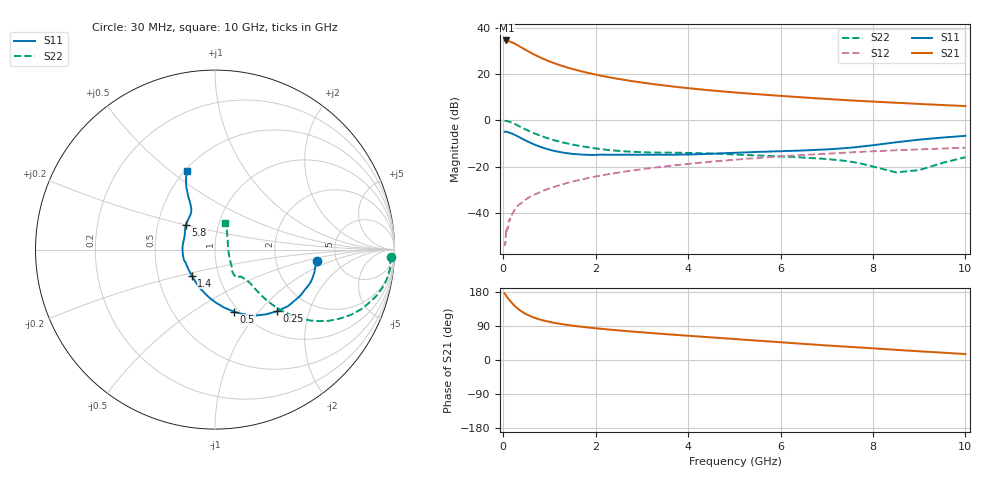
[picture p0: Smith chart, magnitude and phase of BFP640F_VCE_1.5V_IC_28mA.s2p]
! Infineon Technologies  Discrete & RF Semiconductors
! BFP640F
! VCE =  1.5 V,  IC =  28 mA
! Common Emitter S-Parameters:  Apr 2013
# GHz  S  MA  R  50
!  f  S11  S21  S12  S22
! GHz  MAG  ANG  MAG  ANG  MAG  ANG  MAG  ANG
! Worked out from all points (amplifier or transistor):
!   99 points, 30 MHz to 10 GHz, reference 50 ohm
!   highest |S21| = 34.7 dB at 70 MHz (marker M1)
!   |S21| within 3 dB of that: start of sweep to 391.2 MHz
!   unconditionally stable (mu >= 1): 1.858 GHz to end of sweep
!   at 350 MHz: K = 0.46, MSG = 34.2 dB, |S12| = -36.4 dB
!   at 3.5 GHz: K = 1.06, MAG = 16.1 dB, |S12| = -19.9 dB
!   at 10 GHz: K = 1.04, MAG = 7.7 dB, |S12| = -11.8 dB
!   S11 on the Smith chart (normalised r, x): 30 MHz: 3.53, -0.66; 250 MHz: 1.39, -1.26; 500 MHz: 0.95, -0.76; 1.4 GHz: 0.74, -0.22; 5.8 GHz: 0.70, +0.20; 10 GHz: 0.51, +0.57
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0.03  0.5708 -6.3  52.99 175.7  0.0019 87.0  0.9795 -2.3
0.05  0.5659 -10.2  54.05 172.3  0.0022 121.2  0.9778 -4.7
0.07  0.5671 -14.4  54.08 168.6  0.0037 76.8  0.9767 -7.5
0.11  0.5537 -22.2  52.56 161.9  0.0052 76.1  0.9597 -12.2
0.15  0.537 -29.4  51.03 155.8  0.007 83.1  0.9295 -16.7
0.2  0.5145 -37.7  48.65 148.8  0.0097 80.0  0.888 -21.5
0.25  0.4871 -44.9  46.05 142.6  0.0117 80.0  0.8407 -25.6
0.3  0.4603 -51.5  43.29 137.1  0.0136 74.9  0.7938 -29.0
0.35  0.4338 -57.8  40.37 132.2  0.0152 73.7  0.7485 -32.0
0.5  0.3627 -72.8  33.1 120.8  0.0198 71.1  0.6299 -38.0
0.6  0.325 -81.6  29.17 115.1  0.0231 70.2  0.5671 -40.5
0.8  0.2699 -96.7  23.18 106.6  0.0281 70.2  0.4707 -43.3
1.1  0.22 -115.8  17.47 98.2  0.0364 69.9  0.375 -44.6
1.4  0.195 -131.9  13.92 92.3  0.0448 69.3  0.316 -44.4
1.7  0.1832 -145.6  11.55 87.7  0.0529 68.7  0.2762 -43.7
2.4  0.1815 -169.0  8.252 79.2  0.0718 66.1  0.2237 -45.3
3.4  0.1817 168.4  5.867 69.4  0.0987 61.5  0.2016 -48.6
5.1  0.2014 145.9  3.982 54.6  0.1437 52.5  0.182 -52.9
5.8  0.2134 139.1  3.526 48.5  0.162 48.5  0.17 -52.9
6.7  0.2293 129.0  3.061 40.9  0.1839 43.0  0.1529 -51.1
8.5  0.3374 116.5  2.42 26.8  0.2267 32.1  0.0752 -7.0
10  0.4653 109.7  2.055 15.7  0.2575 23.3  0.1603 69.6
